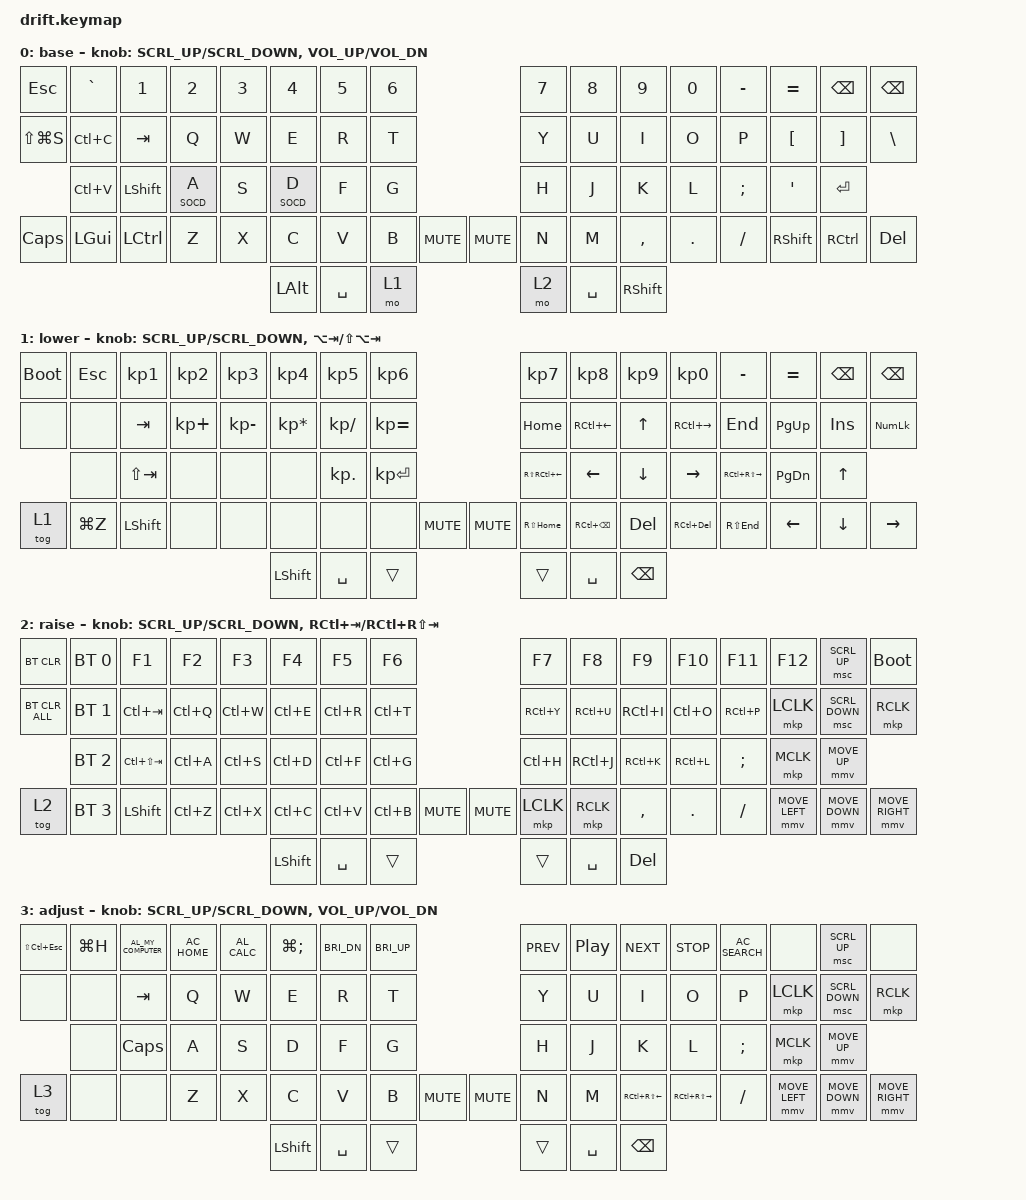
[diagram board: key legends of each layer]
// Copyright (c) 2025 Timception
// SPDX-License-Identifier: MIT

#define ZMK_POINTING_DEFAULT_MOVE_VAL 1500  // default: 600
#define ZMK_POINTING_DEFAULT_SCRL_VAL 120    // default: 10 - for encoder mouse-scroll to work

#include <dt-bindings/zmk/mouse.h>
#include <behaviors.dtsi>
#include <dt-bindings/zmk/bt.h>
#include <dt-bindings/zmk/keys.h>
#include <dt-bindings/zmk/pointing.h>

#define BASE 0
#define LOWER 1
#define RAISE 2
#define ADJUST 3

/ {
    conditional_layers {
        compatible = "zmk,conditional-layers";

        tri_layer {
            if-layers = <1 2>;
            then-layer = <3>;
        };
    };

    behaviors {
        enc_scroll: enc_scroll {
            compatible = "zmk,behavior-sensor-rotate-var";
            #sensor-binding-cells = <2>;
            bindings = <&msc>, <&msc>;

            tap-ms = <20>;
        };

        /* Setup SOCD for keys A and D (left and right) */
        /* SOCD Stands for: Simultaneous Opposing Cardinal Directions */

        SOCD: key_lip_a_d {
            compatible = "zmk,behavior-key-press-lip";
            #binding-cells = <1>;
            keycodes = <A D>;
        };
    };

    keymap {
        compatible = "zmk,keymap";

        default_layer {
            display-name = "base";

            // ------------------------------------------------------------------------------------------------------------------------------------------
            // | ESC   | ESC    |   `   |  1  |  2  |   3   |   4   |   5   |                   |   6   |   7   |   8   |  9  |  0  |  -  |  =  | BKSPC |
            // | COPY  | SCRCAP | TAB   |  Q  |  W  |   E   |   R   |   T   |                   |   Y   |   U   |   I   |  O  |  P  |  [  |  ]  |   \   |
            //         | GUI    | CAPS  |  A  |  S  |   D   |   F   |   G   |                   |   H   |   J   |   K   |  L  |  ;  |  '  |ENTER|
            // | PASTE | CTRL   | SHIFT |  Z  |  X  |   C   |   V   |   B   |  MUTE  | |  MUTE  |   N   |   M   |   ,   |  .  |  /  | ALT |CTRL |  DEL  |
            //                                      | SHIFT | SPACE | LOWER |                   | RAISE | SPACE | BKSPC |

            bindings = <
&kp ESC        &kp GRAVE     &kp N1      &kp N2   &kp N3  &kp N4    &kp N5     &kp N6                          &kp N7  &kp N8     &kp N9      &kp N0   &kp MINUS  &kp EQUAL   &kp BSPC   &kp BSPC
&kp LS(LG(S))  &kp LC(C)     &kp TAB     &kp Q    &kp W   &kp E     &kp R      &kp T                           &kp Y   &kp U      &kp I       &kp O    &kp P      &kp LBKT    &kp RBKT   &kp BSLH
               &kp LC(V)     &kp LSHIFT  &SOCD A  &kp S   &SOCD D   &kp F      &kp G                           &kp H   &kp J      &kp K       &kp L    &kp SEMI   &kp SQT     &kp ENTER
&kp CAPS       &kp LEFT_GUI  &kp LCTRL   &kp Z    &kp X   &kp C     &kp V      &kp B   &kp C_MUTE  &kp C_MUTE  &kp N   &kp M      &kp COMMA   &kp DOT  &kp FSLH   &kp RSHIFT  &kp RCTRL  &kp DEL
                                                          &kp LALT  &kp SPACE  &mo 1                           &mo 2   &kp SPACE  &kp RSHIFT
            >;

            sensor-bindings =
                <&enc_scroll SCRL_UP SCRL_DOWN>,
                <&inc_dec_kp C_VOL_UP C_VOL_DN>;
        };

        lower_layer {
            display-name = "lower";

            // --------------------------------------------------------------------------------------------------------------------------------------------
            // |BOOTLOADER| ESC    |   `   | F1 |  F2 |   F3  |   F4  |   F5  |                   |   F6  |   F7  |   F8  |  F9 | F10 |  F11 | F12  | BKSPC |
            // |  COPY    | SCRCAP | TAB   | Q  |  W  |   E   |   R   |   T   |                   |   Y   |   U   |   I   |  O  |  P  |   [  |  ]   |   \   |
            //            | GUI    | CAPS  | A  |  S  |   D   |   F   |   G   |                   |   H   |   J   |   K   |  L  |  ;  |   '  |  UP  |
            // |  PASTE   | CTRL   | SHIFT | Z  |  X  |   C   |   V   |   B   |  MUTE  | |  MUTE  |   N   |   M   |   ,   |  .  |  /  | LEFT | DOWN | RIGHT |
            //                                        | SHIFT | SPACE | LOWER |                   | RAISE | SPACE | BKSPC |

            bindings = <
&bootloader  &kp ESC    &kp KP_N1    &kp KP_N2    &kp KP_N3     &kp KP_N4        &kp KP_N5      &kp KP_N6                             &kp KP_N7         &kp KP_N8     &kp KP_N9  &kp KP_N0      &kp MINUS          &kp EQUAL  &kp BSPC    &kp BSPC
&none        &none      &kp TAB      &kp KP_PLUS  &kp KP_MINUS  &kp KP_MULTIPLY  &kp KP_DIVIDE  &kp KP_EQUAL                          &kp HOME          &kp RC(LEFT)  &kp UP     &kp RC(RIGHT)  &kp END            &kp PG_UP  &kp INSERT  &kp KP_NUMLOCK
             &none      &kp LS(TAB)  &none        &none         &none            &kp KP_DOT     &kp KP_ENTER                          &kp RS(RC(LEFT))  &kp LEFT      &kp DOWN   &kp RIGHT      &kp RC(RS(RIGHT))  &kp PG_DN  &kp UP
&tog 1       &kp LG(Z)  &kp LSHFT    &none        &none         &none            &none          &none         &kp C_MUTE  &kp C_MUTE  &kp RS(HOME)      &kp RC(BSPC)  &kp DEL    &kp RC(DEL)    &kp RS(END)        &kp LEFT   &kp DOWN    &kp RIGHT
                                                                &kp LSHFT        &kp SPACE      &trans                                &trans            &kp SPACE     &kp BSPC
            >;

            sensor-bindings =
                <&enc_scroll SCRL_UP SCRL_DOWN>,
                <&inc_dec_kp LA(TAB) LS(LA(TAB))>;
        };

        raise_layer {
            display-name = "raise";

            // ----------------------------------------------------------------------------------------------------------------------------------------------
            // | CLEAR | CLEAR  | CLEAR ALL | BT1 |  BT2 |  BT3  |  BT4  |  BT5  |                   |   F6  |   F7  |   F8  |  F9 | F10 |  F11       |  SCROLL UP  |  BOOTLOADER |
            // | COPY  | SCRCAP | TAB       | Q   |  W   |   E   |   R   |   T   |                   |   Y   |   U   |   I   |  O  |  P  |   [        | SCROLL DOWN | RIGHT CLICK |
            //         | GUI    | CAPS      | A   |  S   |   D   |   F   |   G   |                   |   H   |   J   |   K   |  L  |  ;  | LEFT CLICK |   MOUSE UP  |
            // | PASTE | CTRL   | SHIFT     | Z   |  X   |   C   |   V   |   B   |  MUTE  | |  MUTE  |   N   |   M   |   ,   |  .  |  /  | MOUSE LEFT |  MOUSE DOWN | MOUSE RIGHT |
            //                                           | SHIFT | SPACE | LOWER |                   | RAISE | SPACE | BKSPC |

            bindings = <
&bt BT_CLR      &bt BT_SEL 0  &kp F1           &kp F2     &kp F3     &kp F4     &kp F5     &kp F6                             &kp F7     &kp F8     &kp F9     &kp F10    &kp F11    &kp F12         &msc SCRL_UP    &bootloader
&bt BT_CLR_ALL  &bt BT_SEL 1  &kp LC(TAB)      &kp LC(Q)  &kp LC(W)  &kp LC(E)  &kp LC(R)  &kp LC(T)                          &kp RC(Y)  &kp RC(U)  &kp RC(I)  &kp LC(O)  &kp RC(P)  &mkp LCLK       &msc SCRL_DOWN  &mkp RCLK
                &bt BT_SEL 2  &kp LC(LS(TAB))  &kp LC(A)  &kp LC(S)  &kp LC(D)  &kp LC(F)  &kp LC(G)                          &kp LC(H)  &kp RC(J)  &kp RC(K)  &kp RC(L)  &kp SEMI   &mkp MCLK       &mmv MOVE_UP
&tog 2          &bt BT_SEL 3  &kp LSHFT        &kp LC(Z)  &kp LC(X)  &kp LC(C)  &kp LC(V)  &kp LC(B)  &kp C_MUTE  &kp C_MUTE  &mkp LCLK  &mkp RCLK  &kp COMMA  &kp DOT    &kp FSLH   &mmv MOVE_LEFT  &mmv MOVE_DOWN  &mmv MOVE_RIGHT
                                                                     &kp LSHFT  &kp SPACE  &trans                             &trans     &kp SPACE  &kp DEL
            >;

            sensor-bindings =
                <&enc_scroll SCRL_UP SCRL_DOWN>,
                <&inc_dec_kp RC(TAB) RC(RS(TAB))>;
        };

        adjust_layer {
            // ----------------------------------------------------------------------------------------------------------------------------------------------
            // | CLEAR | CLEAR  | CLEAR ALL | BT1 |  BT2 |  BT3  |  BT4  |  BT5  |                   |   F6  |   F7  |   F8  |  F9 | F10 |  F11       |  SCROLL UP  |   CLEAR     |
            // | COPY  | SCRCAP | TAB       | Q   |  W   |   E   |   R   |   T   |                   |   Y   |   U   |   I   |  O  |  P  |   [        | SCROLL DOWN | RIGHT CLICK |
            //         | GUI    | CAPS      | A   |  S   |   D   |   F   |   G   |                   |   H   |   J   |   K   |  L  |  ;  | LEFT CLICK |   MOUSE UP  |
            // | PASTE | CTRL   | SHIFT     | Z   |  X   |   C   |   V   |   B   |  MUTE  | |  MUTE  |   N   |   M   |   ,   |  .  |  /  | MOUSE LEFT |  MOUSE DOWN | MOUSE RIGHT |
            //                                           | SHIFT | SPACE | LOWER |                   | RAISE | SPACE | BKSPC |

            display-name = "adjust";
            bindings = <
&kp LS(LC(ESC))  &kp LG(H)  &kp C_AL_MY_COMPUTER  &kp C_AC_HOME  &kp C_AL_CALC  &kp LG(SEMI)  &kp C_BRI_DN  &kp C_BRI_UP                          &kp C_PREV  &kp C_PP   &kp C_NEXT        &kp C_STOP         &kp C_AC_SEARCH  &none           &msc SCRL_UP    &none
&none            &none      &kp TAB               &kp Q          &kp W          &kp E         &kp R         &kp T                                 &kp Y       &kp U      &kp I             &kp O              &kp P            &mkp LCLK       &msc SCRL_DOWN  &mkp RCLK
                 &none      &kp CAPS              &kp A          &kp S          &kp D         &kp F         &kp G                                 &kp H       &kp J      &kp K             &kp L              &kp SEMI         &mkp MCLK       &mmv MOVE_UP
&tog 3           &none      &none                 &kp Z          &kp X          &kp C         &kp V         &kp B         &kp C_MUTE  &kp C_MUTE  &kp N       &kp M      &kp RC(RS(LEFT))  &kp RC(RS(RIGHT))  &kp FSLH         &mmv MOVE_LEFT  &mmv MOVE_DOWN  &mmv MOVE_RIGHT
                                                                                &kp LSHFT     &kp SPACE     &trans                                &trans      &kp SPACE  &kp BSPC
            >;

            sensor-bindings =
                <&enc_scroll SCRL_UP SCRL_DOWN>,
                <&inc_dec_kp C_VOL_UP C_VOL_DN>;
        };
    };
};
